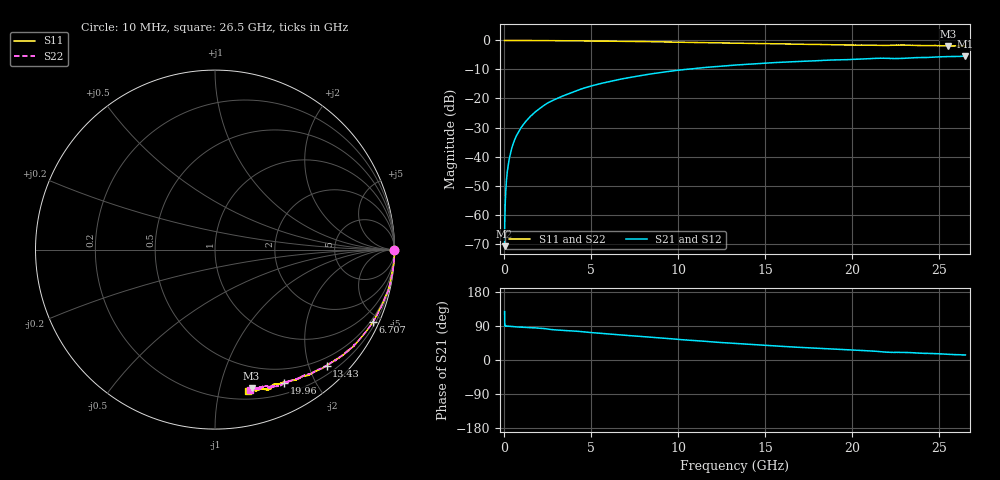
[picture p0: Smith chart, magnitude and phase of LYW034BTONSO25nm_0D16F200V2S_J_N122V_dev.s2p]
!Keysight Technologies,N5222B,MY61253708,A.15.00.15
!Date: Wednesday, June 19, 2024 09:51:52
!Correction: S11(C  2-Port  )
!S21(C  2-Port  )
!S12(C  2-Port  )
!S22(C  2-Port  )
!S2P File: Measurements: S11, S21, S12, S22:
# Hz S  RI  R 50
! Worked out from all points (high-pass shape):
!   2651 points, 10 MHz to 26.5 GHz, reference 50 ohm
!   highest |S21| = -5.39 dB at 26.5 GHz (marker M1); lowest = -70.9 dB at 10 MHz (marker M2)
!   |S21| within 3 dB of the highest: 13.45992 GHz to 13.48299 GHz (23.07 MHz wide, 0.171 % of centre); 13.51 GHz to end of sweep
!   lowest |S11| = -1.9 dB at 25.5 GHz (marker M3), VSWR 8.98, Z = 14.6 - j62.8 ohm
!   |S11| at or under -10 dB: nowhere
!   |S22| runs from -1.9 to 0.0 dB; largest |S21 - S12| = 0.0062
!   S11 on the Smith chart (normalised r, x): 10 MHz: open; 6.707 GHz: 0.37, -4.57; 13.43 GHz: 0.35, -2.31; 19.96 GHz: 0.33, -1.60; 26.5 GHz: 0.27, -1.22
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1e7  0.9985 -0.00288  -0.000176 0.000224  0.000177 0.000571  0.9987 -0.00136
7.997358e7  1 -0.00573  -3.89e-06 0.00265  3.48e-05 0.00267  0.9993 -0.00527
1.499472e8  1 -0.0108  5.74e-05 0.00496  3.04e-05 0.00499  0.9995 -0.0102
1.899321e8  1 -0.0128  0.000101 0.00629  6.53e-05 0.00632  0.9997 -0.0121
2.599057e8  0.9997 -0.0177  0.00013 0.0086  0.000112 0.00863  0.9996 -0.0169
3.598679e8  0.9995 -0.0246  0.00027 0.0119  0.000305 0.012  0.9993 -0.0239
4.898189e8  0.9988 -0.033  0.00051 0.0162  0.000511 0.0163  0.9989 -0.0321
6.497585e8  0.9986 -0.0432  0.000905 0.0214  0.000901 0.0215  0.9985 -0.0424
8.396868e8  0.998 -0.0556  0.00149 0.0275  0.00151 0.0277  0.998 -0.0554
1.449457e9  0.9908 -0.0971  0.00347 0.0478  0.00352 0.048  0.993 -0.094
2.319128e9  0.9822 -0.1507  0.00977 0.0773  0.00994 0.0776  0.9833 -0.1514
3.208792e9  0.9712 -0.2068  0.021 0.1036  0.0212 0.1043  0.9709 -0.2064
4.428332e9  0.943 -0.2796  0.0381 0.141  0.0386 0.142  0.9444 -0.2773
6.707472e9  0.8798 -0.4016  0.0877 0.1973  0.089 0.1981  0.8809 -0.4014
8.846664e9  0.8045 -0.5008  0.1442 0.2362  0.1458 0.2368  0.8052 -0.4999
1.3255e10  0.6292 -0.6411  0.2712 0.2607  0.2734 0.2604  0.6316 -0.6401
1.343493e10  0.6221 -0.6467  0.2762 0.26  0.2785 0.2597  0.6217 -0.6451
1.767333e10  0.4577 -0.7212  0.3774 0.2333  0.3808 0.2316  0.4667 -0.7187
1.996247e10  0.3843 -0.7408  0.4214 0.2092  0.4242 0.2066  0.3964 -0.7381
2.209166e10  0.3225 -0.7547  0.4602 0.1716  0.4619 0.1685  0.315 -0.7603
2.550038e10  0.2036 -0.7732  0.5096 0.1355  0.5108 0.1347  0.2228 -0.775
2.65e10  0.184 -0.7869  0.5229 0.124  0.5223 0.1201  0.1962 -0.7846
